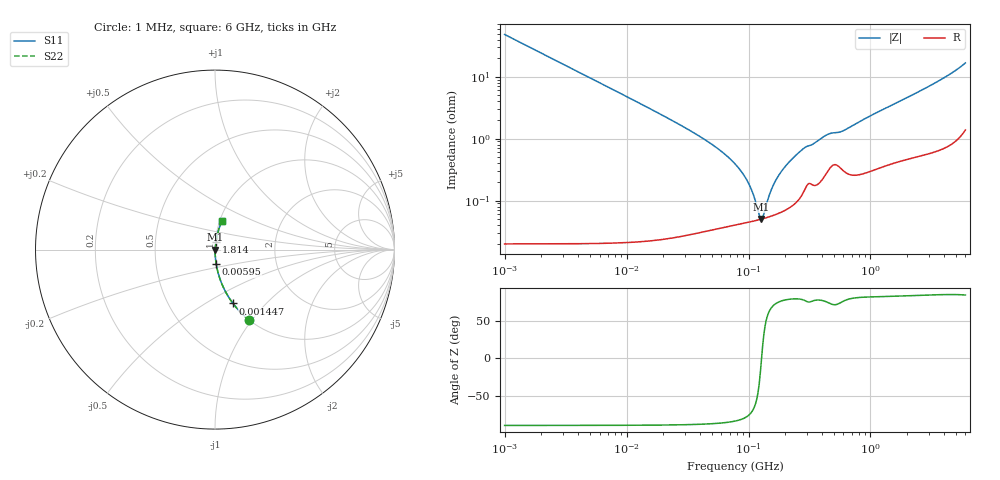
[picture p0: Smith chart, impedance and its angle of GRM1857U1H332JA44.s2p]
!Murata Part Number: GRM1857U1H332JA44
!These Parameters are Measured in Series Mode Connection
!Data Generated on Mar 30, 2021
!  o--ll--o
!Port1  Port2
!  o------o
!Operation Temp=25[degC], DC Bias Voltage=0[V]
!Freq. Start=1000[kHz] Stop=6[GHz] 401[Steps]
# Hz S RI R 50
!Freq.(Hz) S11(Real) S11(Imag) S21(Real) S21(Imag) S12(Real) S12(Imag) S22(Real) S22(Imag)
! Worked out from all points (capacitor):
!   401 points, 1 MHz to 6 GHz, reference 50 ohm
!   read as one part in series: C = 3.3 nF near 1.044 MHz
!   lowest |Z| = 50.1 mohm at 127.7 MHz (marker M1)
!   series resonance near 127.9 MHz, so ESL is about 470 pH
!   S11 on the Smith chart (normalised r, x): 1 MHz: 1.00, -0.97; 1.447 MHz: 1.00, -0.67; 5.95 MHz: 1.00, -0.16; 1.814 GHz: 1.01, +0.08; 6 GHz: 1.03, +0.33
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1000000  0.189 -0.3913  0.811 0.3913  0.811 0.3913  0.189 -0.3913
1447343  0.1002 -0.3  0.8998 0.3  0.8998 0.3  0.1002 -0.3
4293785  0.0126 -0.1108  0.9874 0.1108  0.9874 0.1108  0.0126 -0.1108
5950055  0.0067 -0.0804  0.9933 0.0804  0.9933 0.0804  0.0067 -0.0804
1.843659e7  0.000884 -0.0255  0.9991 0.0255  0.9991 0.0255  0.000884 -0.0255
4.596069e7  0.000404 -0.00906  0.9996 0.00906  0.9996 0.00906  0.000404 -0.00906
7.745967e7  0.000415 -0.00389  0.9996 0.00389  0.9996 0.00389  0.000415 -0.00389
1.005588e8  0.000449 -0.00181  0.9996 0.00181  0.9996 0.00181  0.000449 -0.00181
1.096987e8  0.000465 -0.00115  0.9995 0.00115  0.9995 0.00115  0.000465 -0.00115
1.223006e8  0.00049 -0.000332  0.9995 0.000332  0.9995 0.000332  0.00049 -0.000332
1.277378e8  0.000501 -7.7e-06  0.9995 7.7e-06  0.9995 7.7e-06  0.000501 -7.7e-06
1.334167e8  0.000513 0.000317  0.9995 -0.000317  0.9995 -0.000317  0.000513 0.000317
1.587717e8  0.000575 0.00163  0.9994 -0.00163  0.9994 -0.00163  0.000575 0.00163
1.848803e8  0.000653 0.00283  0.9993 -0.00283  0.9993 -0.00283  0.000653 0.00283
2.618284e8  0.0011 0.00599  0.9989 -0.00599  0.9989 -0.00599  0.0011 0.00599
3.325952e8  0.00186 0.00779  0.9981 -0.00779  0.9981 -0.00779  0.00186 0.00779
4.412715e8  0.00298 0.0112  0.997 -0.0112  0.997 -0.0112  0.00298 0.0112
5.983305e8  0.00319 0.013  0.9968 -0.013  0.9968 -0.013  0.00319 0.013
1.428092e9  0.00486 0.0328  0.9951 -0.0328  0.9951 -0.0328  0.00486 0.0328
1.814076e9  0.00608 0.0413  0.9939 -0.0413  0.9939 -0.0413  0.00608 0.0413
3.718373e9  0.014 0.0862  0.986 -0.0862  0.986 -0.0862  0.014 0.0862
6e9  0.0397 0.1581  0.9603 -0.1581  0.9603 -0.1581  0.0397 0.1581
